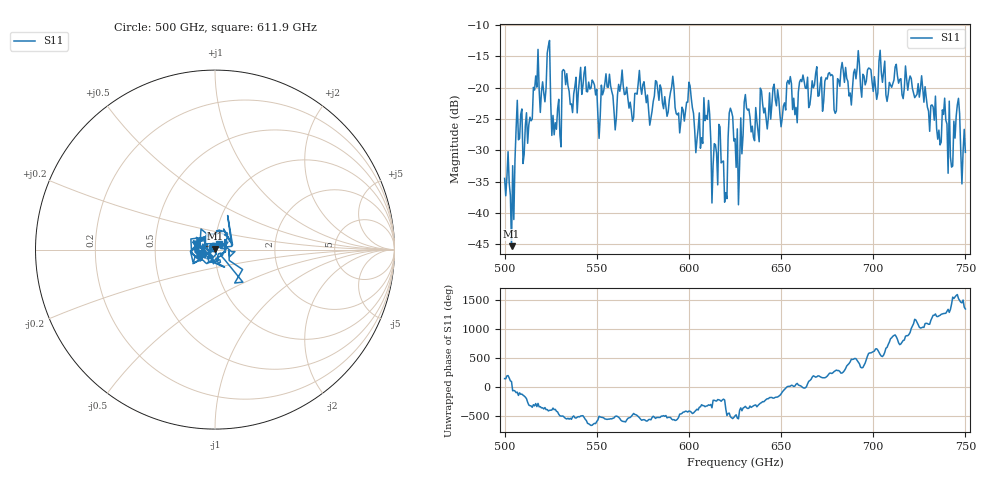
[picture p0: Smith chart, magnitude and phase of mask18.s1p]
!Created with skrf (http://scikit-rf.org).
# GHz S MA R 50.0
!freq magS11 angS11
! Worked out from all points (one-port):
!   401 points, 500 GHz to 750 GHz, reference 50 ohm
!   lowest |S11| = -45.3 dB at 503.8 GHz (marker M1), VSWR 1.01, Z = 50 + j0.544 ohm
!   |S11| at or under -10 dB: start of sweep to end of sweep
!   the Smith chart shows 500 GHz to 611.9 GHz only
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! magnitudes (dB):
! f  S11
! 500 GHz  -34.5
! 503.8 GHz  -45.3
! 507.5 GHz  -28.3
! 511.2 GHz  -26.0
! 516.9 GHz  -18.1
! 520.6 GHz  -19.1
! 523.8 GHz  -13.3
! 526.9 GHz  -27.5
! 531.2 GHz  -17.4
! 532.5 GHz  -17.3
! 550.6 GHz  -24.4
! 562.5 GHz  -20.6
! 568.8 GHz  -23.6
! 590.6 GHz  -19.9
! 593.8 GHz  -24.3
! 605 GHz  -26.5
! 609.4 GHz  -24.4
! 619.4 GHz  -38.3
! 622.5 GHz  -23.3
! 625 GHz  -28.1
! 628.1 GHz  -24.8
! 631.2 GHz  -23.2
! 634.4 GHz  -26.1
! 656.2 GHz  -23.5
! 687.5 GHz  -20.8
! 691.2 GHz  -17.0
! 718.8 GHz  -20.4
! 750 GHz  -30.3
